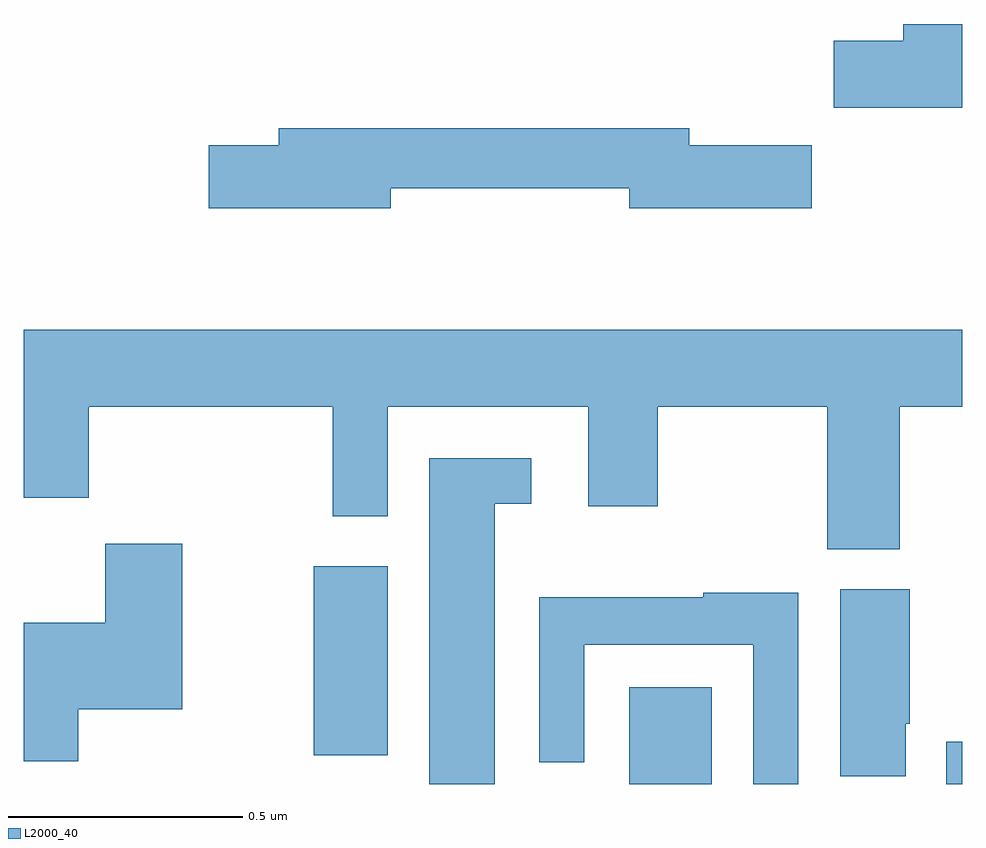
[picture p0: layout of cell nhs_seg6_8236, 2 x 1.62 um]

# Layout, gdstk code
import gdstk
lib = gdstk.Library(unit=1e-6, precision=1e-09)
def R(c, l, rs):  # rectangles x0, y0, x1, y1
    for r in rs: c.add(gdstk.rectangle(r[:2], r[2:], *l))
def P(c, l, *ps):  # polygons
    for p in ps: c.add(gdstk.Polygon(p, *l))
L2000_40 = (2000, 40)

nhs_seg6_8236 = lib.new_cell('nhs_seg6_8236')
R(nhs_seg6_8236, L2000_40, [(219.29,978.5,219.466,978.706), (219.966,978.5,220,978.59), (218.618,978.561,218.776,978.964)])
P(nhs_seg6_8236, L2000_40, [(220,980.12),(219.875,980.12),(219.875,980.084),(219.726,980.084),(219.726,979.942),(220,979.942)],
  [(218.782,979.77),(219.29,979.77),(219.29,979.727),(219.679,979.727),(219.679,979.862),(219.418,979.862),(219.418,979.898),(218.543,979.898),(218.543,979.862),(218.394,979.862),(218.394,979.727),(218.782,979.727)],
  [(219.867,979.304),(220,979.304),(220,979.468),(218,979.468),(218,979.11),(218.138,979.11),(218.138,979.304),(218.658,979.304),(218.658,979.071),(218.776,979.071),(218.776,979.304),(219.203,979.304),(219.203,979.092),(219.351,979.092),(219.351,979.304),(219.712,979.304),(219.712,979),(219.867,979)],
  [(219.004,979.097),(219.082,979.097),(219.082,979.194),(218.864,979.194),(218.864,978.5),(219.004,978.5)],
  [(218.116,978.659),(218.338,978.659),(218.338,979.012),(218.173,979.012),(218.173,978.844),(218,978.844),(218,978.548),(218.116,978.548)],
  [(219.88,978.628),(219.888,978.628),(219.888,978.915),(219.74,978.915),(219.74,978.516),(219.88,978.516)],
  [(219.651,978.908),(219.448,978.908),(219.448,978.898),(219.099,978.898),(219.099,978.546),(219.195,978.546),(219.195,978.797),(219.555,978.797),(219.555,978.5),(219.651,978.5)])

lib.write_gds('nhs_seg6_8236.gds')
